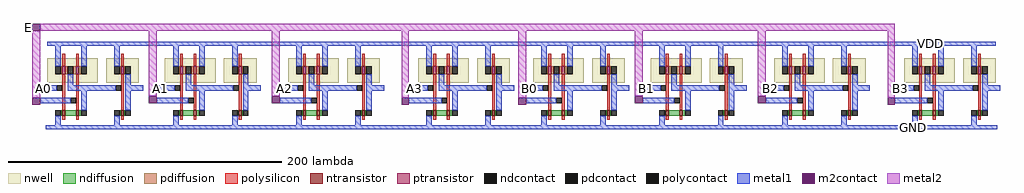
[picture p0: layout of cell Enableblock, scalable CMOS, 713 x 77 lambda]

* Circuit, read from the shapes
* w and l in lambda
.subckt Enableblock A0 A1 A2 A3 B0 B1 B2 B3 E GND VDD
M1 n1 A0 GND VSUBS nfet w=4 l=2
M2 n2 E n1 VSUBS nfet w=4 l=2
M3 n3 n2 GND VSUBS nfet w=4 l=2
M4 n4 A1 GND VSUBS nfet w=4 l=2
M5 n5 E n4 VSUBS nfet w=4 l=2
M6 n6 n5 GND VSUBS nfet w=4 l=2
M7 n7 A2 GND VSUBS nfet w=4 l=2
M8 n8 E n7 VSUBS nfet w=4 l=2
M9 n9 n8 GND VSUBS nfet w=4 l=2
M10 n10 A3 GND VSUBS nfet w=4 l=2
M11 n11 E n10 VSUBS nfet w=4 l=2
M12 n12 n11 GND VSUBS nfet w=4 l=2
M13 n13 B0 GND VSUBS nfet w=4 l=2
M14 n14 E n13 VSUBS nfet w=4 l=2
M15 n15 n14 GND VSUBS nfet w=4 l=2
M16 n16 B1 GND VSUBS nfet w=4 l=2
M17 n17 E n16 VSUBS nfet w=4 l=2
M18 n18 n17 GND VSUBS nfet w=4 l=2
M19 n19 B2 GND VSUBS nfet w=4 l=2
M20 n20 E n19 VSUBS nfet w=4 l=2
M21 n21 n20 GND VSUBS nfet w=4 l=2
M22 n22 B3 GND VSUBS nfet w=4 l=2
M23 n23 E n22 VSUBS nfet w=4 l=2
M24 n24 n23 GND VSUBS nfet w=4 l=2
M25 n2 A0 VDD n25 pfet w=6 l=2
M26 VDD E n2 n25 pfet w=6 l=2
M27 n3 n2 VDD n26 pfet w=6 l=2
M28 n5 A1 VDD n27 pfet w=6 l=2
M29 VDD E n5 n27 pfet w=6 l=2
M30 n6 n5 VDD n28 pfet w=6 l=2
M31 n8 A2 VDD n29 pfet w=6 l=2
M32 VDD E n8 n29 pfet w=6 l=2
M33 n9 n8 VDD n30 pfet w=6 l=2
M34 n11 A3 VDD n31 pfet w=6 l=2
M35 VDD E n11 n31 pfet w=6 l=2
M36 n12 n11 VDD n32 pfet w=6 l=2
M37 n14 B0 VDD n33 pfet w=6 l=2
M38 VDD E n14 n33 pfet w=6 l=2
M39 n15 n14 VDD n34 pfet w=6 l=2
M40 n17 B1 VDD n35 pfet w=6 l=2
M41 VDD E n17 n35 pfet w=6 l=2
M42 n18 n17 VDD n36 pfet w=6 l=2
M43 n20 B2 VDD n37 pfet w=6 l=2
M44 VDD E n20 n37 pfet w=6 l=2
M45 n21 n20 VDD n38 pfet w=6 l=2
M46 n23 B3 VDD n39 pfet w=6 l=2
M47 VDD E n23 n39 pfet w=6 l=2
M48 n24 n23 VDD n40 pfet w=6 l=2
.ends

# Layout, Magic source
magic
tech scmos
<< nwell >>
rect 601 32 638 50
rect 644 32 668 50
rect 687 32 724 50
rect 730 32 754 50
rect 777 32 814 50
rect 820 32 844 50
rect 872 32 909 50
rect 915 32 939 50
rect 956 32 993 50
rect 999 32 1023 50
rect 1042 32 1079 50
rect 1085 32 1109 50
rect 1132 32 1169 50
rect 1175 32 1199 50
rect 1227 32 1264 50
rect 1270 32 1294 50
<< ntransistor >>
rect 612 8 614 12
rect 622 8 624 12
rect 655 8 657 12
rect 698 8 700 12
rect 708 8 710 12
rect 741 8 743 12
rect 788 8 790 12
rect 798 8 800 12
rect 831 8 833 12
rect 883 8 885 12
rect 893 8 895 12
rect 926 8 928 12
rect 967 8 969 12
rect 977 8 979 12
rect 1010 8 1012 12
rect 1053 8 1055 12
rect 1063 8 1065 12
rect 1096 8 1098 12
rect 1143 8 1145 12
rect 1153 8 1155 12
rect 1186 8 1188 12
rect 1238 8 1240 12
rect 1248 8 1250 12
rect 1281 8 1283 12
<< ptransistor >>
rect 612 38 614 44
rect 622 38 624 44
rect 655 38 657 44
rect 698 38 700 44
rect 708 38 710 44
rect 741 38 743 44
rect 788 38 790 44
rect 798 38 800 44
rect 831 38 833 44
rect 883 38 885 44
rect 893 38 895 44
rect 926 38 928 44
rect 967 38 969 44
rect 977 38 979 44
rect 1010 38 1012 44
rect 1053 38 1055 44
rect 1063 38 1065 44
rect 1096 38 1098 44
rect 1143 38 1145 44
rect 1153 38 1155 44
rect 1186 38 1188 44
rect 1238 38 1240 44
rect 1248 38 1250 44
rect 1281 38 1283 44
<< ndiffusion >>
rect 611 8 612 12
rect 614 8 622 12
rect 624 8 626 12
rect 654 8 655 12
rect 657 8 658 12
rect 697 8 698 12
rect 700 8 708 12
rect 710 8 712 12
rect 740 8 741 12
rect 743 8 744 12
rect 787 8 788 12
rect 790 8 798 12
rect 800 8 802 12
rect 830 8 831 12
rect 833 8 834 12
rect 882 8 883 12
rect 885 8 893 12
rect 895 8 897 12
rect 925 8 926 12
rect 928 8 929 12
rect 966 8 967 12
rect 969 8 977 12
rect 979 8 981 12
rect 1009 8 1010 12
rect 1012 8 1013 12
rect 1052 8 1053 12
rect 1055 8 1063 12
rect 1065 8 1067 12
rect 1095 8 1096 12
rect 1098 8 1099 12
rect 1142 8 1143 12
rect 1145 8 1153 12
rect 1155 8 1157 12
rect 1185 8 1186 12
rect 1188 8 1189 12
rect 1237 8 1238 12
rect 1240 8 1248 12
rect 1250 8 1252 12
rect 1280 8 1281 12
rect 1283 8 1284 12
<< pdiffusion >>
rect 611 38 612 44
rect 614 38 616 44
rect 620 38 622 44
rect 624 38 626 44
rect 654 38 655 44
rect 657 38 658 44
rect 697 38 698 44
rect 700 38 702 44
rect 706 38 708 44
rect 710 38 712 44
rect 740 38 741 44
rect 743 38 744 44
rect 787 38 788 44
rect 790 38 792 44
rect 796 38 798 44
rect 800 38 802 44
rect 830 38 831 44
rect 833 38 834 44
rect 882 38 883 44
rect 885 38 887 44
rect 891 38 893 44
rect 895 38 897 44
rect 925 38 926 44
rect 928 38 929 44
rect 966 38 967 44
rect 969 38 971 44
rect 975 38 977 44
rect 979 38 981 44
rect 1009 38 1010 44
rect 1012 38 1013 44
rect 1052 38 1053 44
rect 1055 38 1057 44
rect 1061 38 1063 44
rect 1065 38 1067 44
rect 1095 38 1096 44
rect 1098 38 1099 44
rect 1142 38 1143 44
rect 1145 38 1147 44
rect 1151 38 1153 44
rect 1155 38 1157 44
rect 1185 38 1186 44
rect 1188 38 1189 44
rect 1237 38 1238 44
rect 1240 38 1242 44
rect 1246 38 1248 44
rect 1250 38 1252 44
rect 1280 38 1281 44
rect 1283 38 1284 44
<< ndcontact >>
rect 607 8 611 12
rect 626 8 630 12
rect 650 8 654 12
rect 658 8 662 12
rect 693 8 697 12
rect 712 8 716 12
rect 736 8 740 12
rect 744 8 748 12
rect 783 8 787 12
rect 802 8 806 12
rect 826 8 830 12
rect 834 8 838 12
rect 878 8 882 12
rect 897 8 901 12
rect 921 8 925 12
rect 929 8 933 12
rect 962 8 966 12
rect 981 8 985 12
rect 1005 8 1009 12
rect 1013 8 1017 12
rect 1048 8 1052 12
rect 1067 8 1071 12
rect 1091 8 1095 12
rect 1099 8 1103 12
rect 1138 8 1142 12
rect 1157 8 1161 12
rect 1181 8 1185 12
rect 1189 8 1193 12
rect 1233 8 1237 12
rect 1252 8 1256 12
rect 1276 8 1280 12
rect 1284 8 1288 12
<< pdcontact >>
rect 607 38 611 44
rect 616 38 620 44
rect 626 38 630 44
rect 650 38 654 44
rect 658 38 662 44
rect 693 38 697 44
rect 702 38 706 44
rect 712 38 716 44
rect 736 38 740 44
rect 744 38 748 44
rect 783 38 787 44
rect 792 38 796 44
rect 802 38 806 44
rect 826 38 830 44
rect 834 38 838 44
rect 878 38 882 44
rect 887 38 891 44
rect 897 38 901 44
rect 921 38 925 44
rect 929 38 933 44
rect 962 38 966 44
rect 971 38 975 44
rect 981 38 985 44
rect 1005 38 1009 44
rect 1013 38 1017 44
rect 1048 38 1052 44
rect 1057 38 1061 44
rect 1067 38 1071 44
rect 1091 38 1095 44
rect 1099 38 1103 44
rect 1138 38 1142 44
rect 1147 38 1151 44
rect 1157 38 1161 44
rect 1181 38 1185 44
rect 1189 38 1193 44
rect 1233 38 1237 44
rect 1242 38 1246 44
rect 1252 38 1256 44
rect 1276 38 1280 44
rect 1284 38 1288 44
<< polysilicon >>
rect 612 44 614 53
rect 622 44 624 53
rect 655 44 657 53
rect 698 44 700 53
rect 708 44 710 53
rect 741 44 743 53
rect 788 44 790 53
rect 798 44 800 53
rect 831 44 833 53
rect 883 44 885 53
rect 893 44 895 53
rect 926 44 928 53
rect 967 44 969 53
rect 977 44 979 53
rect 1010 44 1012 53
rect 1053 44 1055 53
rect 1063 44 1065 53
rect 1096 44 1098 53
rect 1143 44 1145 53
rect 1153 44 1155 53
rect 1186 44 1188 53
rect 1238 44 1240 53
rect 1248 44 1250 53
rect 1281 44 1283 53
rect 612 12 614 38
rect 622 12 624 38
rect 655 12 657 38
rect 698 12 700 38
rect 708 12 710 38
rect 741 12 743 38
rect 788 12 790 38
rect 798 12 800 38
rect 831 12 833 38
rect 883 12 885 38
rect 893 12 895 38
rect 926 12 928 38
rect 967 12 969 38
rect 977 12 979 38
rect 1010 12 1012 38
rect 1053 12 1055 38
rect 1063 12 1065 38
rect 1096 12 1098 38
rect 1143 12 1145 38
rect 1153 12 1155 38
rect 1186 12 1188 38
rect 1238 12 1240 38
rect 1248 12 1250 38
rect 1281 12 1283 38
rect 612 5 614 8
rect 622 5 624 8
rect 655 5 657 8
rect 698 5 700 8
rect 708 5 710 8
rect 741 5 743 8
rect 788 5 790 8
rect 798 5 800 8
rect 831 5 833 8
rect 883 5 885 8
rect 893 5 895 8
rect 926 5 928 8
rect 967 5 969 8
rect 977 5 979 8
rect 1010 5 1012 8
rect 1053 5 1055 8
rect 1063 5 1065 8
rect 1096 5 1098 8
rect 1143 5 1145 8
rect 1153 5 1155 8
rect 1186 5 1188 8
rect 1238 5 1240 8
rect 1248 5 1250 8
rect 1281 5 1283 8
<< polycontact >>
rect 608 26 612 30
rect 618 17 622 21
rect 651 26 655 30
rect 694 26 698 30
rect 704 17 708 21
rect 737 26 741 30
rect 784 26 788 30
rect 794 17 798 21
rect 827 26 831 30
rect 879 26 883 30
rect 889 17 893 21
rect 922 26 926 30
rect 963 26 967 30
rect 973 17 977 21
rect 1006 26 1010 30
rect 1049 26 1053 30
rect 1059 17 1063 21
rect 1092 26 1096 30
rect 1139 26 1143 30
rect 1149 17 1153 21
rect 1182 26 1186 30
rect 1234 26 1238 30
rect 1244 17 1248 21
rect 1277 26 1281 30
<< metal1 >>
rect 584 70 590 75
rect 601 59 1294 62
rect 607 44 611 59
rect 626 44 630 59
rect 650 44 654 59
rect 693 44 697 59
rect 712 44 716 59
rect 736 44 740 59
rect 783 44 787 59
rect 802 44 806 59
rect 826 44 830 59
rect 878 44 882 59
rect 897 44 901 59
rect 921 44 925 59
rect 962 44 966 59
rect 981 44 985 59
rect 1005 44 1009 59
rect 1048 44 1052 59
rect 1067 44 1071 59
rect 1091 44 1095 59
rect 1138 44 1142 59
rect 1157 44 1161 59
rect 1181 44 1185 59
rect 1233 44 1237 59
rect 1252 44 1256 59
rect 1276 44 1280 59
rect 616 30 620 38
rect 658 30 662 38
rect 702 30 706 38
rect 744 30 748 38
rect 792 30 796 38
rect 834 30 838 38
rect 887 30 891 38
rect 929 30 933 38
rect 971 30 975 38
rect 1013 30 1017 38
rect 1057 30 1061 38
rect 1099 30 1103 38
rect 1147 30 1151 38
rect 1189 30 1193 38
rect 1242 30 1246 38
rect 1284 30 1288 38
rect 596 26 608 30
rect 616 26 651 30
rect 658 26 671 30
rect 682 26 694 30
rect 702 26 737 30
rect 744 26 757 30
rect 772 26 784 30
rect 792 26 827 30
rect 834 26 847 30
rect 867 26 879 30
rect 887 26 922 30
rect 929 26 942 30
rect 951 26 963 30
rect 971 26 1006 30
rect 1013 26 1026 30
rect 1037 26 1049 30
rect 1057 26 1092 30
rect 1099 26 1112 30
rect 1127 26 1139 30
rect 1147 26 1182 30
rect 1189 26 1202 30
rect 1222 26 1234 30
rect 1242 26 1277 30
rect 1284 26 1297 30
rect 596 17 618 21
rect 626 12 630 26
rect 658 12 662 26
rect 681 17 704 21
rect 712 12 716 26
rect 744 12 748 26
rect 771 17 794 21
rect 802 12 806 26
rect 834 12 838 26
rect 865 17 889 21
rect 897 12 901 26
rect 929 12 933 26
rect 951 17 973 21
rect 981 12 985 26
rect 1013 12 1017 26
rect 1036 17 1059 21
rect 1067 12 1071 26
rect 1099 12 1103 26
rect 1126 17 1149 21
rect 1157 12 1161 26
rect 1189 12 1193 26
rect 1220 17 1244 21
rect 1252 12 1256 26
rect 1284 12 1288 26
rect 607 1 611 8
rect 650 1 654 8
rect 693 1 697 8
rect 736 1 740 8
rect 783 1 787 8
rect 826 1 830 8
rect 878 1 882 8
rect 921 1 925 8
rect 962 1 966 8
rect 1005 1 1009 8
rect 1048 1 1052 8
rect 1091 1 1095 8
rect 1138 1 1142 8
rect 1181 1 1185 8
rect 1233 1 1237 8
rect 1276 1 1280 8
rect 600 -2 1295 1
<< m2contact >>
rect 590 70 596 75
rect 590 16 596 21
rect 675 17 681 22
rect 765 17 771 22
rect 860 16 865 21
rect 945 16 951 21
rect 1030 17 1036 22
rect 1120 17 1126 22
rect 1215 16 1220 21
<< metal2 >>
rect 596 70 1220 75
rect 590 21 596 70
rect 675 22 681 70
rect 765 22 771 70
rect 860 21 865 70
rect 945 21 951 70
rect 1030 22 1036 70
rect 1120 22 1126 70
rect 1215 21 1220 70
<< labels >>
rlabel metal1 596 26 600 30 3 A0
rlabel metal1 682 26 686 30 1 A1
rlabel metal1 772 26 776 30 1 A2
rlabel metal1 867 26 871 30 1 A3
rlabel metal1 584 70 590 75 4 E
rlabel metal1 1229 -2 1239 1 1 GND
rlabel metal1 1241 59 1251 62 5 VDD
rlabel metal1 951 26 955 30 1 B0
rlabel metal1 1037 26 1041 30 1 B1
rlabel metal1 1127 26 1131 30 1 B2
rlabel metal1 1222 26 1226 30 1 B3
<< end >>
